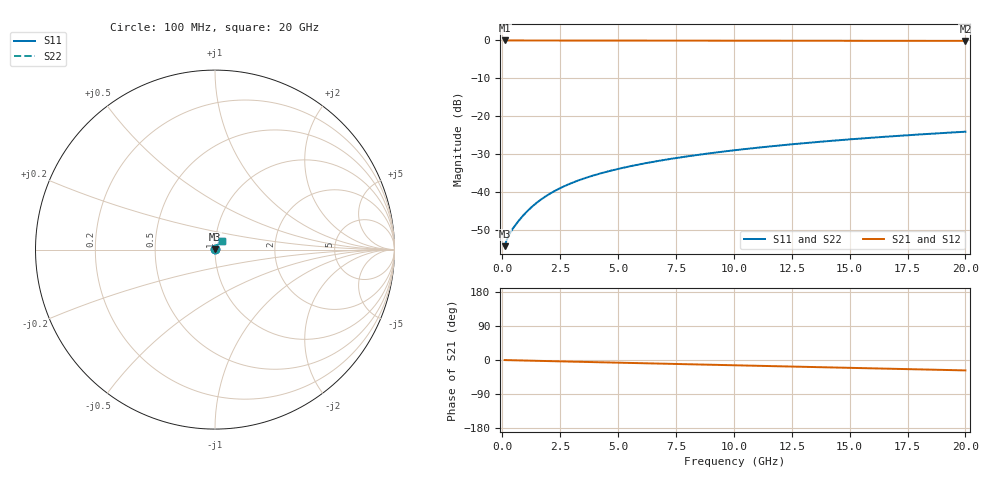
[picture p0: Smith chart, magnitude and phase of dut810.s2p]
! Touchstone file exported from HFSS 2026.1.0
!  File:  C:/ffzhzh/LocalFiles/Ansys_Project_Files/temp_train_BSMRDL_810_1783169873_18472.aedt
!  Generated:  08:59:07 PM Jul  4, 2026
!  Design:  BSMRDL
!  Project:  temp_train_BSMRDL_810_1783169873_18472
! Variables:
!  h_bsmrdl = 5.39um
!  h_ox = 20um
!  h_rdl = 5um
!  h_sub = 80um
!  h_tmrdl = 5um
!  h_tsv = 80um
!  h_via = 3um
!  l_bsmrdl = 486.63um
!  l_sub = 886.63um
!  l_tmrdl = 200um
!  m_sub = 200um
!  pitch = 26.76um
!  r_tsv = 6um
!  s_tmrdl = 10um
!  w_bsmrdl = 19.9um
!  w_sub = 500um
!  w_tmrdl = 12um
!  x_tsv_center1 = 206um
!  x_tsv_center2 = 712.53um
!  x_tsv_center3 = 924.53um
!  x_tsv_center4 = 1431.06um
!  x_tsv_center5 = 1643.06um
!  x_tsv_center6 = 2149.59um
# GHz S MA R 50.000000
! Terminal data exported
! Port[1] = BSM_RDL1_1_T1
! Port[2] = BSM_RDL1_1_T2
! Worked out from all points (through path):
!   200 points, 100 MHz to 20 GHz, reference 50 ohm
!   highest |S21| = -0.02 dB at 100 MHz (marker M1); lowest = -0.1 dB at 20 GHz (marker M2)
!   group delay of S21, straight-line fit = 3.8 ps
!   lowest |S11| = -54.1 dB at 100 MHz (marker M3), VSWR 1.00, Z = 50.2 + j0.0742 ohm
!   |S11| at or under -10 dB: start of sweep to end of sweep
!   |S22| runs from -54.1 to -24.0 dB; largest |S21 - S12| = 5e-14
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0.1  0.001965 22.1  0.9982 -0.2  0.9982 -0.2  0.001965 22.1
! Gamma 0 0 0 0
! Port Impedance 50 0 50 0
0.2  0.002418 32.0  0.998 -0.3  0.998 -0.3  0.002419 32.1
0.3  0.002808 37.6  0.9978 -0.5  0.9978 -0.5  0.002812 37.7
0.5  0.0035 46.0  0.9975 -0.7  0.9975 -0.7  0.003506 46.0
0.7  0.004212 52.3  0.9974 -1.0  0.9974 -1.0  0.004217 52.2
0.9  0.004968 56.9  0.9973 -1.3  0.9973 -1.3  0.004972 56.8
1.3  0.006561 62.4  0.9971 -1.9  0.9971 -1.9  0.006562 62.4
1.5  0.007375 64.1  0.9969 -2.2  0.9969 -2.2  0.007375 64.0
1.8  0.008597 65.7  0.9967 -2.6  0.9967 -2.6  0.008596 65.6
2.3  0.01061 67.0  0.9963 -3.3  0.9963 -3.3  0.0106 67.0
2.9  0.01294 67.5  0.9958 -4.2  0.9958 -4.2  0.01294 67.5
3.5  0.01517 67.4  0.9953 -5.0  0.9953 -5.0  0.01517 67.4
4.2  0.01767 67.0  0.9947 -6.0  0.9947 -6.0  0.01767 67.0
4.9  0.02005 66.5  0.9941 -6.9  0.9941 -6.9  0.02006 66.5
5.8  0.02301 65.8  0.9934 -8.2  0.9934 -8.2  0.02302 65.7
6.8  0.02618 65.0  0.9926 -9.5  0.9926 -9.5  0.02619 64.9
8.3  0.03077 63.7  0.9917 -11.6  0.9917 -11.6  0.03079 63.6
10.1  0.03611 62.1  0.9906 -14.0  0.9906 -14.0  0.03613 61.9
11.7  0.04073 60.5  0.9897 -16.2  0.9897 -16.2  0.04076 60.4
13.4  0.04551 58.8  0.9888 -18.5  0.9888 -18.5  0.04555 58.6
16.7  0.05447 55.3  0.9872 -23.0  0.9872 -23.0  0.05452 55.1
20  0.06295 51.6  0.9856 -27.5  0.9856 -27.5  0.06303 51.3
